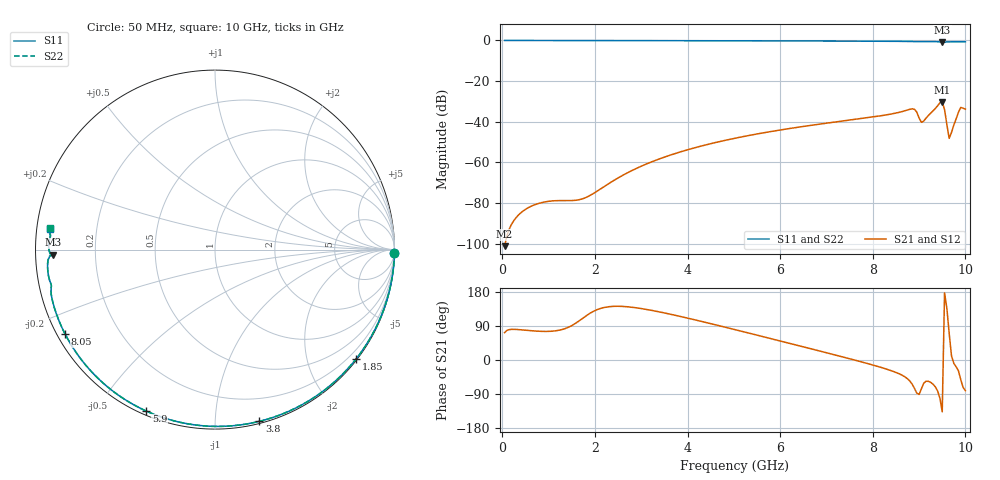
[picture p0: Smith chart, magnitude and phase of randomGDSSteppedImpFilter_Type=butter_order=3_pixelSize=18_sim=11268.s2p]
! freq	dB(S11)	phase(S11)	dB(S12)	phase(S12)
!  dB(S21)	phase(S21)	dB(S22)	phase(S22)
!S-par simulation data
#  GHz  S  DB  R 50
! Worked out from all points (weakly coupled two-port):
!   200 points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, 50 MHz to 10 GHz, reference 50 ohm
!   highest |S21| = -30.27 dB at 9.5 GHz (marker M1); lowest = -101.3 dB at 50 MHz (marker M2)
!   lowest |S11| = -0.9 dB at 9.5 GHz (marker M3), VSWR 19.91, Z = 2.51 - j0.8 ohm
!   |S11| at or under -10 dB: nowhere
!   |S22| runs from -0.9 to 0.0 dB; largest |S21 - S12| = 0
!   S11 on the Smith chart (normalised r, x): 50 MHz: open; 1.85 GHz: 0.03, -2.91; 3.8 GHz: 0.02, -1.29; 5.9 GHz: 0.02, -0.66; 8.05 GHz: 0.02, -0.26; 10 GHz: 0.04, +0.06
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0.05  -0.00 -1.0  -101.30 72.2  -101.30 72.2  -0.00 -1.0
0.8  -0.02 -16.6  -80.15 75.8  -80.15 75.8  -0.02 -16.6
1.75  -0.05 -35.9  -77.84 111.3  -77.84 111.3  -0.05 -35.9
1.85  -0.05 -37.9  -76.87 119.9  -76.87 119.9  -0.05 -37.9
2.65  -0.07 -53.7  -65.80 141.0  -65.80 141.0  -0.07 -53.7
3.4  -0.09 -68.1  -58.26 126.8  -58.26 126.8  -0.09 -68.0
3.8  -0.10 -75.5  -55.20 116.2  -55.20 116.2  -0.10 -75.5
5.05  -0.15 -98.2  -48.03 79.4  -48.03 79.4  -0.15 -98.2
5.9  -0.20 -113.1  -44.46 53.3  -44.46 53.3  -0.20 -113.1
6.7  -0.25 -127.0  -41.69 28.5  -41.69 28.5  -0.25 -127.0
8.05  -0.37 -150.7  -37.52 -14.9  -37.52 -14.9  -0.37 -150.7
8.35  -0.40 -156.1  -36.43 -26.1  -36.43 -26.1  -0.40 -156.2
8.9  -0.56 -166.7  -33.89 -74.8  -33.89 -74.8  -0.55 -166.8
8.95  -0.60 -167.4  -35.28 -87.3  -35.28 -87.3  -0.59 -167.5
9.05  -0.58 -168.8  -40.31 -76.3  -40.31 -76.3  -0.58 -169.0
9.45  -0.71 -177.7  -30.69 -100.8  -30.69 -100.8  -0.71 -177.8
9.5  -0.87 -178.2  -30.27 -136.7  -30.27 -136.7  -0.87 -178.3
9.55  -0.85 -177.8  -34.05 177.3  -34.05 177.3  -0.85 -178.0
9.65  -0.68 -179.7  -48.21 70.1  -48.21 70.1  -0.68 -179.9
9.85  -0.71 175.8  -35.34 -28.6  -35.34 -28.6  -0.73 175.6
9.9  -0.71 175.1  -32.98 -51.8  -32.98 -51.8  -0.73 175.0
10  -0.65 172.8  -33.85 -80.9  -33.85 -80.9  -0.65 172.7
